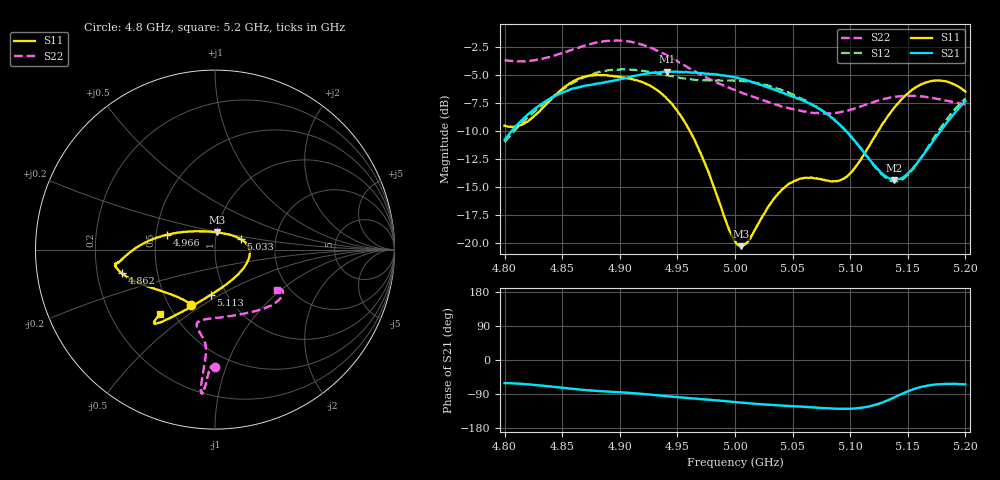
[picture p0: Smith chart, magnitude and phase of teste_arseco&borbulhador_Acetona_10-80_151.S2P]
! Network Analyzer HP8722D
! Hewlett-Packard
! Data name: Linha & Wilkinson
! Saver's name: Rodrigo Anjos
! Comments: Teste da utilização de aquisição
! continua pelo VNA HP8722D
! Time and date: 17/4/2025 15:37
!  Frequency  S11  S21  S12  S22
# HZ  S  MA R 50
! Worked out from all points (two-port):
!   401 points, 4.8 GHz to 5.2 GHz, reference 50 ohm
!   highest |S21| = -4.69 dB at 4.941 GHz (marker M1); lowest = -14.4 dB at 5.138 GHz (marker M2)
!   |S21| within 3 dB of the highest: 4.831 GHz to 5.067 GHz (236.7 MHz wide, 4.78 % of centre); 5.196687 GHz to end of sweep
!   lowest |S11| = -20.3 dB at 5.005 GHz (marker M3), VSWR 1.21, Z = 50.1 + j9.69 ohm
!   |S11| at or under -10 dB: 4.961 GHz to 5.124 GHz (163.4 MHz wide, 3.24 % of centre)
!   |S22| runs from -8.4 to -1.9 dB; largest |S21 - S12| = 0.87
!   S11 on the Smith chart (normalised r, x): 4.8 GHz: 0.65, -0.45; 4.862 GHz: 0.31, -0.11; 4.966 GHz: 0.57, +0.10; 5.033 GHz: 1.33, +0.16; 5.113 GHz: 0.84, -0.45; 5.2 GHz: 0.42, -0.39
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4.8e9  0.3338 -113.3  0.2885 -60.8  0.2821 -174.9  0.6559 -90.0
4.819e9  0.347 -133.2  0.3699 -64.0  0.3589 -173.5  0.6508 -91.6
4.862e9  0.5354 -165.7  0.4941 -76.9  0.5279 -176.8  0.7412 -93.9
4.867e9  0.5477 -167.6  0.5011 -78.4  0.544 -177.7  0.7561 -94.0
4.9e9  0.5525 -172.2  0.5377 -85.2  0.5956 175.8  0.8027 -95.3
4.934e9  0.4758 -178.1  0.5769 -93.6  0.5717 171.9  0.7172 -95.8
4.941e9  0.44 178.8  0.583 -95.3  0.5608 171.8  0.6898 -95.5
4.966e9  0.2797 162.9  0.577 -102.0  0.5349 173.8  0.5813 -95.0
5e9  0.1017 101.7  0.5498 -111.1  0.5333 176.2  0.4821 -99.1
5.005e9  0.09636 84.1  0.5407 -112.4  0.529 176.2  0.4706 -100.4
5.012e9  0.1025 61.2  0.5292 -114.2  0.5252 176.0  0.4571 -101.9
5.033e9  0.1554 22.0  0.4871 -118.8  0.4977 174.9  0.4186 -103.6
5.048e9  0.1851 6.4  0.4549 -121.4  0.4664 174.3  0.3984 -100.3
5.067e9  0.1953 -13.6  0.414 -124.8  0.4155 173.7  0.3813 -90.7
5.093e9  0.1922 -57.9  0.3295 -128.8  0.3278 174.2  0.3851 -70.6
5.113e9  0.2532 -95.2  0.2493 -124.4  0.2491 -180.0  0.4137 -55.0
5.134e9  0.3757 -116.3  0.1939 -104.5  0.1904 -157.3  0.4451 -42.9
5.138e9  0.4009 -118.7  0.1909 -99.0  0.1879 -151.0  0.4485 -41.2
5.151e9  0.4701 -124.4  0.2057 -81.5  0.2038 -131.0  0.4547 -36.3
5.17e9  0.5285 -128.8  0.2748 -66.4  0.2807 -112.5  0.4458 -31.9
5.184e9  0.5258 -130.1  0.3457 -63.0  0.3577 -107.1  0.4316 -30.9
5.2e9  0.4742 -130.5  0.4299 -64.3  0.4422 -106.4  0.4153 -33.2
